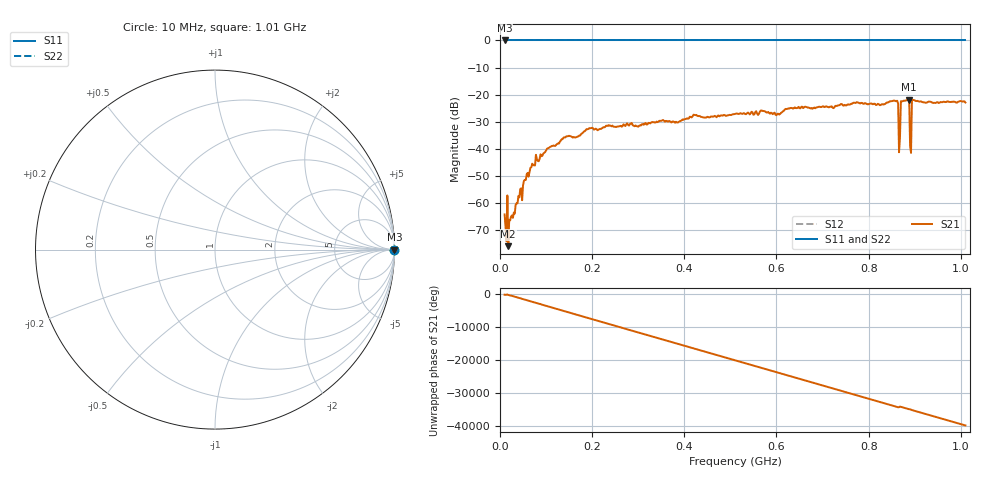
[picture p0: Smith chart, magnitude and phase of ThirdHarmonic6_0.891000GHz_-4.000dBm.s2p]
! 8/16/2025 5:16:38 AM
! C:\ANRITSUVNA\TEMP\TEMP.S2P
! CHANNEL.1
! TR.MEASUREMENT
! RAW.DATA
! RF.CORRECTION.OFF
! AVERAGING.OFF
! IF.BANDWIDTH: 5KHZ
! SWEEPTYPE:  FREQ.SWEEP(Linear)
! Reference Plane Port Info
! PORT:  PORT1  PORT2
! DISTANCE:  0  m  0  m
! TIME:  0  s  0  s
! PHASE.OFFSET:  0  deg.  0  deg.
! LOSS:  0  dB  0  dB
! REF.LOSS:  0  dB  0  dB
! REF.FREQ:  0  Hz  0  Hz
! Power Info
! POWER:  -20  dBm  -20  dBm
! EFF.POWER:  -20  dBm  -20  dBm
! SOURCE.ATTEN:  0  dB  0  dB
! TEST.ATTEN:  0  dB  0  dB
# GHZ S RI R 50.0
! FREQ.GHZ  S11RE  S11IM  S21RE  S21IM  S12RE  S12IM  S22RE  S22IM
!; PortSelection: Port_12
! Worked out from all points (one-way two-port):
!   501 points, 10 MHz to 1.01 GHz, reference 50 ohm
!   highest |S21| = -21.85 dB at 888 MHz (marker M1); lowest = -75.9 dB at 18 MHz (marker M2)
!   lowest |S11| = 0.0 dB at 10 MHz (marker M3)
!   |S11| at or under -10 dB: nowhere
!   |S22| runs from 0.0 to 0.0 dB; largest |S21 - S12| = 1.1
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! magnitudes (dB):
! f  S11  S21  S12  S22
! 10 MHz  0.0  -64.2  0.0  0.0
! 12 MHz  0.0  -68.8  0.0  0.0
! 14 MHz  0.0  -74.1  0.0  0.0
! 18 MHz  0.0  -75.9  0.0  0.0
! 56 MHz  0.0  -51.5  0.0  0.0
! 74 MHz  0.0  -46.0  0.0  0.0
! 140 MHz  0.0  -35.7  0.0  0.0
! 178 MHz  0.0  -34.3  0.0  0.0
! 344 MHz  0.0  -30.0  0.0  0.0
! 510 MHz  0.0  -27.1  0.0  0.0
! 678 MHz  0.0  -25.2  0.0  0.0
! 844 MHz  0.0  -22.7  0.0  0.0
! 860 MHz  0.0  -22.4  0.0  0.0
! 864 MHz  0.0  -23.3  0.0  0.0
! 868 MHz  0.0  -35.9  0.0  0.0
! 870 MHz  0.0  -22.4  0.0  0.0
! 874 MHz  0.0  -22.4  0.0  0.0
! 884 MHz  0.0  -21.9  0.0  0.0
! 888 MHz  0.0  -21.9  0.0  0.0
! 894 MHz  0.0  -21.9  0.0  0.0
! 898 MHz  0.0  -22.0  0.0  0.0
! 1.01 GHz  0.0  -22.9  0.0  0.0
